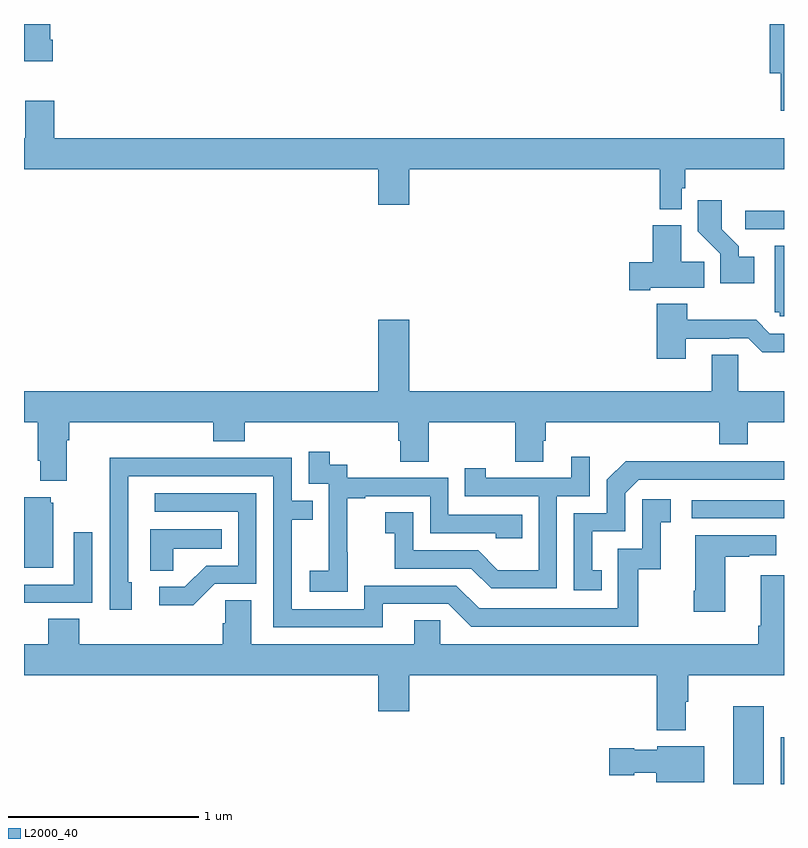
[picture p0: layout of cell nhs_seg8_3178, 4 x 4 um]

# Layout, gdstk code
import gdstk
lib = gdstk.Library(unit=1e-6, precision=1e-09)
def R(c, l, rs):  # rectangles x0, y0, x1, y1
    for r in rs: c.add(gdstk.rectangle(r[:2], r[2:], *l))
def P(c, l, *ps):  # polygons
    for p in ps: c.add(gdstk.Polygon(p, *l))
L2000_40 = (2000, 40)

nhs_seg8_3178 = lib.new_cell('nhs_seg8_3178')
R(nhs_seg8_3178, L2000_40, [(310.733,1143.9,310.894,1144.309), (310.982,1143.9,311,1144.147), (310.515,1145.298,311,1145.394), (310.797,1146.819,311,1146.918)])
P(nhs_seg8_3178, L2000_40, [(311,1147.9),(310.925,1147.9),(310.925,1147.64),(310.982,1147.64),(310.982,1147.443),(311,1147.443)],
  [(307.151,1147.816),(307.138,1147.816),(307.138,1147.9),(307,1147.9),(307,1147.704),(307.151,1147.704)],
  [(310.461,1147.035),(310.481,1147.035),(310.481,1147.136),(311,1147.136),(311,1147.3),(307.16,1147.3),(307.16,1147.495),(307.007,1147.495),(307.007,1147.3),(307,1147.3),(307,1147.136),(308.864,1147.136),(308.864,1146.948),(309.028,1146.948),(309.028,1147.136),(310.345,1147.136),(310.345,1146.926),(310.461,1146.926)],
  [(310.843,1146.676),(310.762,1146.676),(310.762,1146.731),(310.672,1146.821),(310.672,1146.973),(310.546,1146.973),(310.546,1146.81),(310.665,1146.691),(310.665,1146.536),(310.843,1146.536)],
  [(310.297,1146.512),(310.58,1146.512),(310.58,1146.65),(310.459,1146.65),(310.459,1146.841),(310.31,1146.841),(310.31,1146.647),(310.185,1146.647),(310.185,1146.5),(310.297,1146.5)],
  [(311,1146.733),(310.952,1146.733),(310.952,1146.384),(310.977,1146.384),(310.977,1146.363),(311,1146.363)],
  [(310.483,1146.243),(310.712,1146.243),(310.712,1146.246),(310.812,1146.246),(310.885,1146.173),(311,1146.173),(311,1146.27),(310.926,1146.27),(310.853,1146.343),(310.491,1146.343),(310.491,1146.427),(310.331,1146.427),(310.331,1146.138),(310.483,1146.138)],
  [(307.225,1145.708),(307.238,1145.708),(307.238,1145.804),(307.997,1145.804),(307.997,1145.705),(308.162,1145.705),(308.162,1145.804),(308.969,1145.804),(308.969,1145.706),(308.981,1145.706),(308.981,1145.596),(309.129,1145.596),(309.129,1145.804),(309.586,1145.804),(309.586,1145.596),(309.733,1145.596),(309.733,1145.706),(309.746,1145.706),(309.746,1145.804),(310.658,1145.804),(310.658,1145.687),(310.81,1145.687),(310.81,1145.804),(311,1145.804),(311,1145.968),(310.758,1145.968),(310.758,1146.158),(310.619,1146.158),(310.619,1145.968),(309.028,1145.968),(309.028,1146.343),(308.864,1146.343),(308.864,1145.968),(307,1145.968),(307,1145.804),(307.073,1145.804),(307.073,1145.602),(307.085,1145.602),(307.085,1145.495),(307.225,1145.495)],
  [(308.703,1145.119),(308.702,1145.119),(308.702,1145.403),(308.797,1145.403),(308.797,1145.415),(309.138,1145.415),(309.138,1145.22),(309.483,1145.22),(309.483,1145.193),(309.623,1145.193),(309.623,1145.316),(309.234,1145.316),(309.234,1145.511),(308.7,1145.511),(308.7,1145.58),(308.608,1145.58),(308.608,1145.65),(308.499,1145.65),(308.499,1145.481),(308.604,1145.481),(308.604,1145.252),(308.603,1145.252),(308.603,1145.023),(308.505,1145.023),(308.505,1144.913),(308.703,1144.913)],
  [(309.804,1145.415),(309.978,1145.415),(309.978,1145.623),(309.881,1145.623),(309.881,1145.511),(309.43,1145.511),(309.43,1145.563),(309.319,1145.563),(309.319,1145.415),(309.708,1145.415),(309.708,1145.026),(309.494,1145.026),(309.39,1145.13),(309.048,1145.13),(309.048,1145.329),(308.901,1145.329),(308.901,1145.219),(308.95,1145.219),(308.95,1145.034),(309.353,1145.034),(309.458,1144.929),(309.804,1144.929)],
  [(308.887,1144.848),(309.234,1144.848),(309.354,1144.728),(310.234,1144.728),(310.234,1145.031),(310.352,1145.031),(310.352,1145.277),(310.405,1145.277),(310.405,1145.398),(310.254,1145.398),(310.254,1145.139),(310.125,1145.139),(310.125,1144.824),(309.396,1144.824),(309.276,1144.944),(308.79,1144.944),(308.79,1144.821),(308.409,1144.821),(308.409,1145.29),(308.519,1145.29),(308.519,1145.391),(308.409,1145.391),(308.409,1145.616),(307.913,1145.616),(307.913,1145.618),(307.45,1145.618),(307.45,1145.311),(307.452,1145.311),(307.452,1144.818),(307.567,1144.818),(307.567,1144.962),(307.548,1144.962),(307.548,1145.52),(308.313,1145.52),(308.313,1144.725),(308.887,1144.725)],
  [(310.04,1145.025),(309.991,1145.025),(309.991,1145.229),(310.164,1145.229),(310.164,1145.43),(310.236,1145.502),(311,1145.502),(311,1145.598),(310.574,1145.598),(310.574,1145.6),(310.166,1145.6),(310.068,1145.502),(310.068,1145.325),(309.894,1145.325),(309.894,1144.92),(310.04,1144.92)],
  [(308.004,1144.953),(308.223,1144.953),(308.223,1145.43),(307.689,1145.43),(307.689,1145.334),(308.127,1145.334),(308.127,1145.049),(307.958,1145.049),(307.847,1144.938),(307.713,1144.938),(307.713,1144.841),(307.891,1144.841)],
  [(307.153,1145.379),(307.142,1145.379),(307.142,1145.41),(307,1145.41),(307,1145.039),(307.153,1145.039)],
  [(307.785,1145.138),(308.042,1145.138),(308.042,1145.242),(307.664,1145.242),(307.664,1145.023),(307.785,1145.023)],
  [(307.043,1144.854),(307.359,1144.854),(307.359,1145.224),(307.263,1145.224),(307.263,1144.95),(307,1144.95),(307,1144.853),(307.043,1144.853)],
  [(310.69,1145.095),(310.817,1145.095),(310.817,1145.105),(310.96,1145.105),(310.96,1145.209),(310.532,1145.209),(310.532,1144.918),(310.525,1144.918),(310.525,1144.806),(310.69,1144.806)],
  [(310.483,1144.334),(310.496,1144.334),(310.496,1144.472),(311,1144.472),(311,1144.999),(310.877,1144.999),(310.877,1144.732),(310.865,1144.732),(310.865,1144.636),(309.192,1144.636),(309.192,1144.763),(309.053,1144.763),(309.053,1144.636),(308.197,1144.636),(308.197,1144.868),(308.058,1144.868),(308.058,1144.745),(308.045,1144.745),(308.045,1144.636),(307.292,1144.636),(307.292,1144.769),(307.127,1144.769),(307.127,1144.636),(307,1144.636),(307,1144.472),(308.864,1144.472),(308.864,1144.284),(309.028,1144.284),(309.028,1144.472),(310.331,1144.472),(310.331,1144.184),(310.483,1144.184)],
  [(310.579,1144.099),(310.332,1144.099),(310.332,1144.081),(310.212,1144.081),(310.212,1144.089),(310.08,1144.089),(310.08,1143.947),(310.212,1143.947),(310.212,1143.959),(310.328,1143.959),(310.328,1143.908),(310.579,1143.908)])

lib.write_gds('nhs_seg8_3178.gds')
